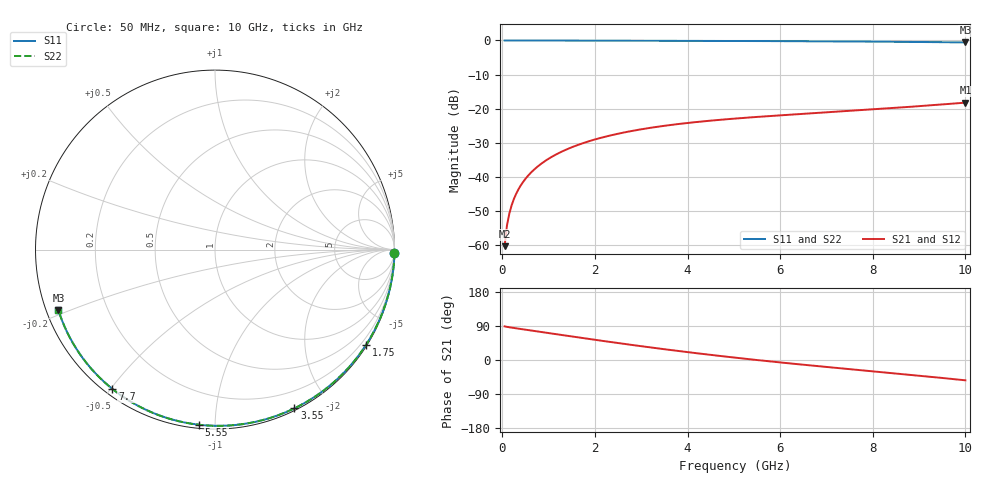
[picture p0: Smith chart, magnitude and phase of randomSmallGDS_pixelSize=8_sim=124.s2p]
! freq	dB(S11)	phase(S11)	dB(S12)	phase(S12)
!  dB(S21)	phase(S21)	dB(S22)	phase(S22)
!S-par simulation data
#  GHz  S  DB  R 50
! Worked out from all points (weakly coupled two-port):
!   200 points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, 50 MHz to 10 GHz, reference 50 ohm
!   highest |S21| = -18.24 dB at 10 GHz (marker M1); lowest = -60.4 dB at 50 MHz (marker M2)
!   lowest |S11| = -0.6 dB at 10 GHz (marker M3), VSWR 29.97, Z = 1.73 - j9.35 ohm
!   |S11| at or under -10 dB: nowhere
!   |S22| runs from -0.6 to 0.0 dB; largest |S21 - S12| = 0
!   S11 on the Smith chart (normalised r, x): 50 MHz: open; 1.75 GHz: 0.03, -3.46; 3.55 GHz: 0.02, -1.62; 5.55 GHz: 0.02, -0.91; 7.7 GHz: 0.02, -0.51; 10 GHz: 0.03, -0.19
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0.05  -0.00 -0.9  -60.36 88.7  -60.36 88.7  -0.00 -0.9
0.1  -0.00 -1.9  -54.38 87.5  -54.38 87.5  -0.00 -1.9
0.15  -0.00 -2.8  -50.90 86.4  -50.90 86.4  -0.00 -2.8
0.2  -0.00 -3.8  -48.44 85.4  -48.44 85.4  -0.00 -3.8
0.25  -0.00 -4.7  -46.53 84.5  -46.53 84.5  -0.00 -4.7
0.35  -0.01 -6.6  -43.65 82.7  -43.65 82.7  -0.01 -6.6
0.5  -0.01 -9.4  -40.60 80.1  -40.60 80.1  -0.01 -9.4
0.7  -0.02 -13.1  -37.73 76.5  -37.73 76.5  -0.02 -13.1
1  -0.02 -18.6  -34.70 71.1  -34.70 71.1  -0.02 -18.6
1.35  -0.03 -25.0  -32.20 64.8  -32.20 64.8  -0.03 -25.0
1.75  -0.04 -32.2  -30.10 57.7  -30.10 57.7  -0.04 -32.2
2.5  -0.07 -45.5  -27.36 44.7  -27.36 44.7  -0.07 -45.5
3.4  -0.09 -60.9  -25.23 30.0  -25.23 30.0  -0.09 -60.9
3.55  -0.10 -63.4  -24.95 27.7  -24.95 27.7  -0.10 -63.4
4.3  -0.12 -75.7  -23.79 16.4  -23.79 16.4  -0.12 -75.7
5.05  -0.15 -87.5  -22.89 5.9  -22.89 5.9  -0.15 -87.5
5.55  -0.18 -95.1  -22.39 -0.7  -22.39 -0.7  -0.18 -95.1
6.7  -0.24 -112.1  -21.37 -14.8  -21.37 -14.8  -0.24 -112.1
7.7  -0.32 -126.4  -20.51 -26.4  -20.51 -26.4  -0.32 -126.4
8.35  -0.38 -135.5  -19.91 -33.8  -19.91 -33.8  -0.38 -135.5
9.2  -0.47 -147.4  -19.08 -43.8  -19.08 -43.8  -0.47 -147.4
10  -0.58 -158.8  -18.24 -53.6  -18.24 -53.6  -0.58 -158.8
